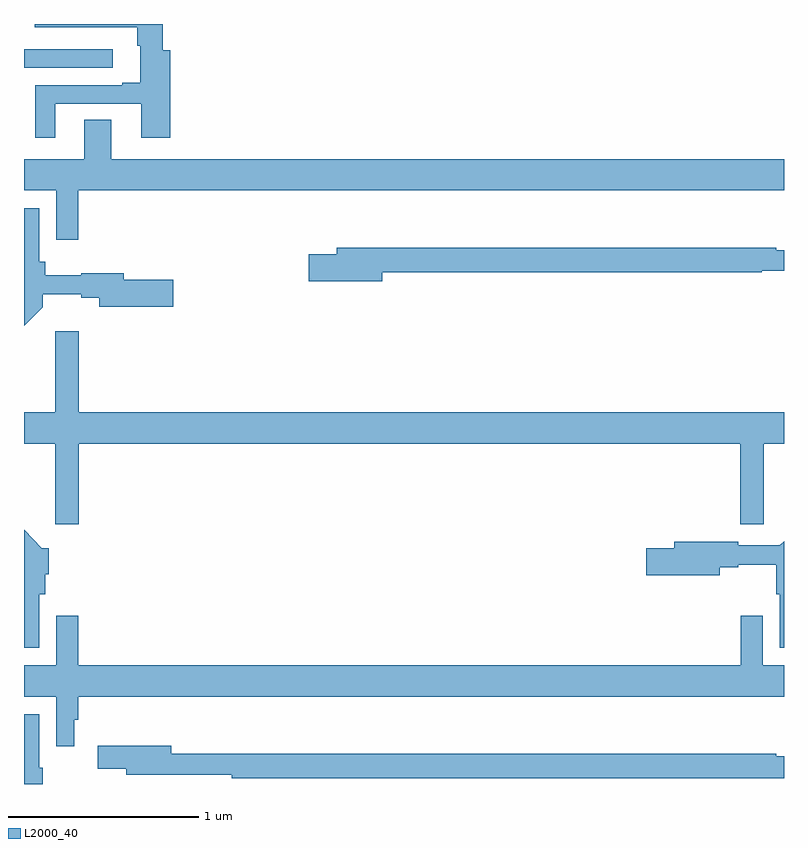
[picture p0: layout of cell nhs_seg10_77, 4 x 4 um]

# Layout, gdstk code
import gdstk
lib = gdstk.Library(unit=1e-6, precision=1e-09)
def R(c, l, rs):  # rectangles x0, y0, x1, y1
    for r in rs: c.add(gdstk.rectangle(r[:2], r[2:], *l))
def P(c, l, *ps):  # polygons
    for p in ps: c.add(gdstk.Polygon(p, *l))
L2000_40 = (2000, 40)

nhs_seg10_77 = lib.new_cell('nhs_seg10_77')
R(nhs_seg10_77, L2000_40, [(113,1326.27,113.467,1326.366)])
P(nhs_seg10_77, L2000_40, [(113.164,1326.081),(113.618,1326.081),(113.618,1325.901),(113.771,1325.901),(113.771,1326.361),(113.731,1326.361),(113.731,1326.5),(113.057,1326.5),(113.057,1326.482),(113.595,1326.482),(113.595,1326.386),(113.612,1326.386),(113.612,1326.19),(113.516,1326.19),(113.516,1326.177),(113.06,1326.177),(113.06,1325.901),(113.164,1325.901)],
  [(113.285,1325.624),(117,1325.624),(117,1325.788),(113.458,1325.788),(113.458,1325.996),(113.318,1325.996),(113.318,1325.788),(113,1325.788),(113,1325.624),(113.169,1325.624),(113.169,1325.364),(113.285,1325.364)],
  [(113.098,1325.01),(113.098,1325.078),(113.3,1325.078),(113.3,1325.059),(113.396,1325.059),(113.396,1325.012),(113.785,1325.012),(113.785,1325.154),(113.524,1325.154),(113.524,1325.188),(113.3,1325.188),(113.3,1325.177),(113.111,1325.177),(113.111,1325.25),(113.08,1325.25),(113.08,1325.53),(113,1325.53),(113,1324.911)],
  [(114.886,1325.194),(116.882,1325.194),(116.882,1325.202),(117,1325.202),(117,1325.31),(116.96,1325.31),(116.96,1325.323),(114.647,1325.323),(114.647,1325.289),(114.498,1325.289),(114.498,1325.147),(114.886,1325.147)],
  [(113.288,1324.292),(116.771,1324.292),(116.771,1323.867),(116.893,1323.867),(116.893,1324.292),(117,1324.292),(117,1324.456),(113.288,1324.456),(113.288,1324.882),(113.165,1324.882),(113.165,1324.456),(113,1324.456),(113,1324.292),(113.165,1324.292),(113.165,1323.867),(113.288,1323.867)],
  [(113.08,1323.498),(113.111,1323.498),(113.111,1323.604),(113.131,1323.604),(113.131,1323.742),(113.094,1323.742),(113,1323.837),(113,1323.218),(113.08,1323.218)],
  [(117,1323.778),(116.978,1323.756),(116.758,1323.756),(116.758,1323.776),(116.423,1323.776),(116.423,1323.74),(116.274,1323.74),(116.274,1323.598),(116.662,1323.598),(116.662,1323.64),(116.758,1323.64),(116.758,1323.655),(116.96,1323.655),(116.96,1323.498),(116.978,1323.498),(116.978,1323.218),(117,1323.218)],
  [(113.265,1322.838),(113.285,1322.838),(113.285,1322.96),(117,1322.96),(117,1323.124),(116.889,1323.124),(116.889,1323.385),(116.773,1323.385),(116.773,1323.124),(113.285,1323.124),(113.285,1323.385),(113.169,1323.385),(113.169,1323.124),(113,1323.124),(113,1322.96),(113.169,1322.96),(113.169,1322.7),(113.265,1322.7)],
  [(113.098,1322.586),(113.08,1322.586),(113.08,1322.866),(113,1322.866),(113,1322.5),(113.098,1322.5)],
  [(117,1322.646),(116.96,1322.646),(116.96,1322.659),(113.776,1322.659),(113.776,1322.701),(113.388,1322.701),(113.388,1322.579),(113.537,1322.579),(113.537,1322.549),(114.094,1322.549),(114.094,1322.53),(117,1322.53)])

lib.write_gds('nhs_seg10_77.gds')
